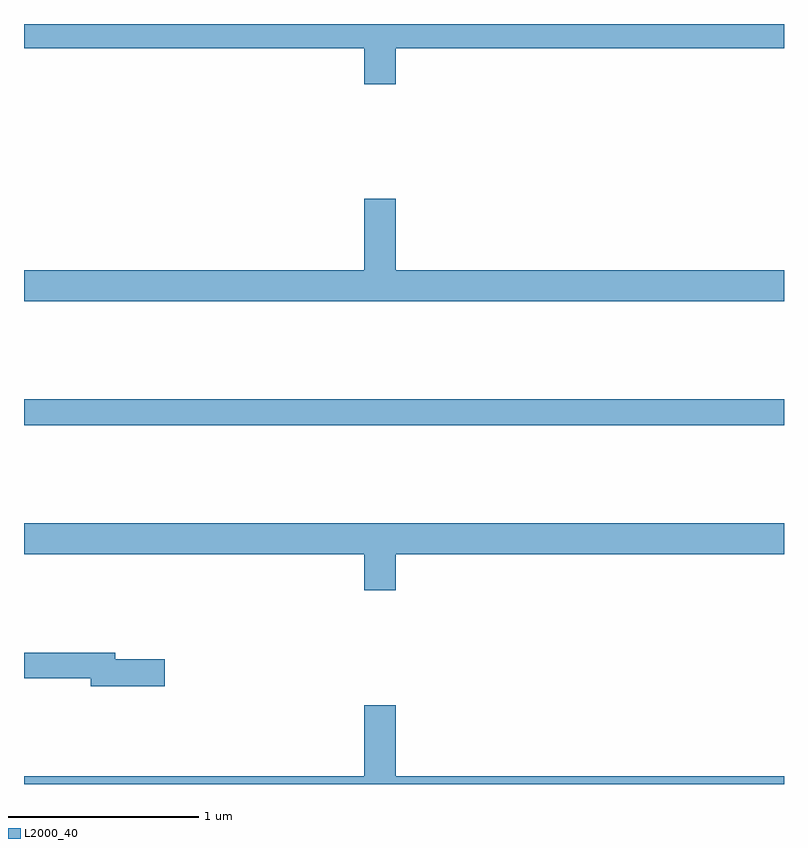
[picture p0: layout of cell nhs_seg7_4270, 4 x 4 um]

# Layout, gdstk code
import gdstk
lib = gdstk.Library(unit=1e-6, precision=1e-09)
def R(c, l, rs):  # rectangles x0, y0, x1, y1
    for r in rs: c.add(gdstk.rectangle(r[:2], r[2:], *l))
def P(c, l, *ps):  # polygons
    for p in ps: c.add(gdstk.Polygon(p, *l))
L2000_40 = (2000, 40)

nhs_seg7_4270 = lib.new_cell('nhs_seg7_4270')
R(nhs_seg7_4270, L2000_40, [(379,1075.888,383,1076.024)])
P(nhs_seg7_4270, L2000_40, [(380.956,1077.872),(383,1077.872),(383,1078),(379,1078),(379,1077.872),(380.792,1077.872),(380.792,1077.684),(380.956,1077.684)],
  [(383,1076.704),(380.956,1076.704),(380.956,1077.079),(380.792,1077.079),(380.792,1076.704),(379,1076.704),(379,1076.54),(383,1076.54)],
  [(380.956,1075.208),(383,1075.208),(383,1075.372),(379,1075.372),(379,1075.208),(380.792,1075.208),(380.792,1075.02),(380.956,1075.02)],
  [(379.741,1074.656),(379.48,1074.656),(379.48,1074.692),(379,1074.692),(379,1074.556),(379.352,1074.556),(379.352,1074.514),(379.741,1074.514)],
  [(383,1074.04),(380.956,1074.04),(380.956,1074.415),(380.792,1074.415),(380.792,1074.04),(379,1074.04),(379,1074),(383,1074)])

lib.write_gds('nhs_seg7_4270.gds')
